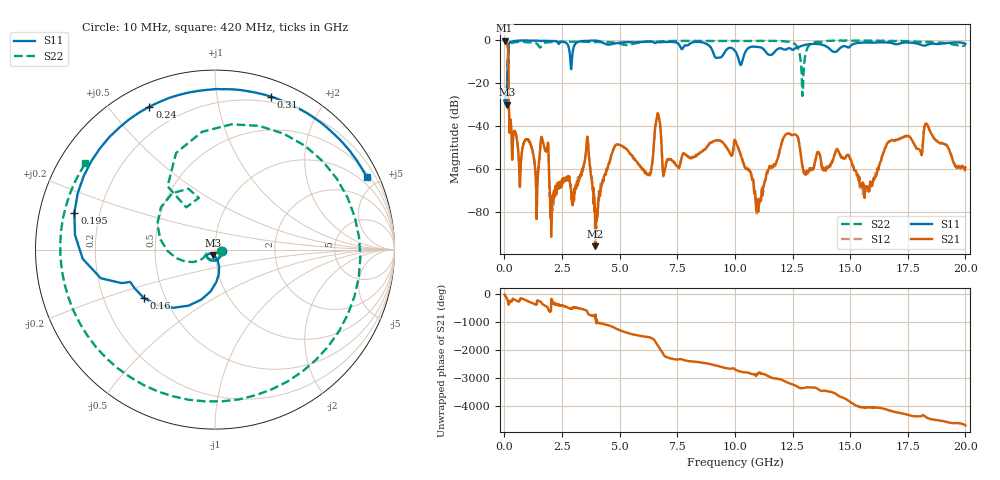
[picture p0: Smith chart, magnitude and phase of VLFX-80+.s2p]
! Mini-Circuits
! S2P DATA File Format
! Type: LOW PASS FILTER
! Model: VLFX-80+
! All S Parameters are in dB deg format
! TEST CONDITIONS: INPUT POWER = 0 dBm @ Temperature = + 25 deg C
# MHz S DB R 50
!FREQ  MAG(S11)PHS(S11)MAG(S21)PHS(S21)MAG(S12)PHS(S12)MAG(S22)PHS(S22)
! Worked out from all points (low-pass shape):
!   1293 points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, 10 MHz to 20 GHz, reference 50 ohm
!   highest |S21| = -0.31 dB at 10 MHz (marker M1); lowest = -96.2 dB at 3.94 GHz (marker M2)
!   |S21| within 3 dB of the highest: start of sweep to 146.6 MHz
!   lowest |S11| = -30.2 dB at 105 MHz (marker M3), VSWR 1.06, Z = 48.9 - j2.88 ohm
!   |S11| at or under -10 dB: start of sweep to 142.5 MHz; 2.865 GHz to 2.927 GHz (61.88 MHz wide, 2.14 % of centre); 10.18 GHz to 10.32 GHz (137.9 MHz wide, 1.34 % of centre)
!   |S22| runs from -28.9 to -0.3 dB; largest |S21 - S12| = 0.0015
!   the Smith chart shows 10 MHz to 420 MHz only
!   S11 on the Smith chart (normalised r, x): 10 MHz: 1.08, -0.02; 160 MHz: 0.38, -0.27; 195 MHz: 0.11, +0.13; 240 MHz: 0.09, +0.64; 310 MHz: 0.15, +1.42; 420 MHz: 0.64, +4.29
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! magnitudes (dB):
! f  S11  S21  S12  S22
! 10 MHz  -28.4  -0.3  -0.3  -28.9
! 105 MHz  -30.2  -1.2  -1.2  -24.4
! 160 MHz  -6.4  -5.1  -5.1  -8.1
! 195 MHz  -1.8  -31.2  -31.2  -3.0
! 240 MHz  -1.1  -39.0  -39.0  -1.8
! 310 MHz  -0.8  -44.3  -44.7  -1.4
! 420 MHz  -0.6  -42.7  -42.7  -1.2
! 1.4 GHz  -0.4  -83.6  -79.6  -1.7
! 1.88 GHz  -0.5  -48.8  -48.8  -1.2
! 2.015 GHz  -0.5  -79.5  -77.2  -1.1
! 3.35 GHz  -0.6  -62.2  -61.9  -0.9
! 3.61 GHz  -0.7  -45.4  -45.4  -1.0
! 3.94 GHz  -0.3  -96.2  -84.5  -1.0
! 6.675 GHz  -1.1  -34.6  -34.5  -0.9
! 7 GHz  -1.0  -58.9  -57.8  -0.6
! 10.03 GHz  -5.4  -47.2  -47.1  -0.5
! 11 GHz  -3.3  -80.2  -74.3  -0.5
! 12.25 GHz  -4.3  -43.8  -43.9  -0.8
! 13.35 GHz  -1.9  -60.3  -59.8  -1.5
! 15.7 GHz  -1.2  -68.3  -66.8  -0.4
! 16.68 GHz  -1.2  -47.4  -47.5  -0.5
! 20 GHz  -1.9  -59.5  -60.0  -2.7
